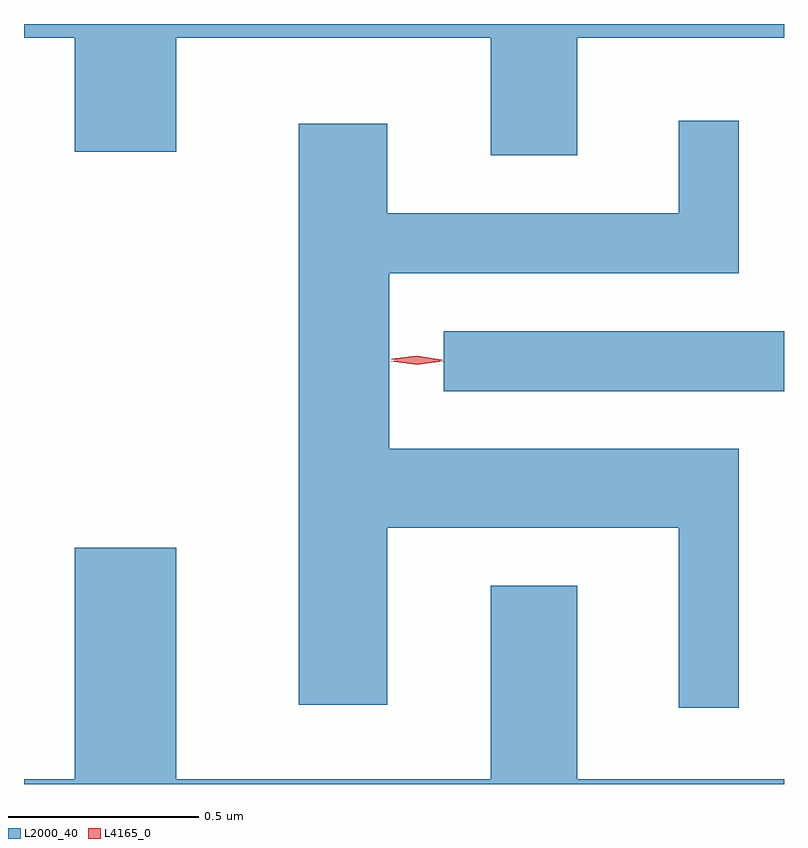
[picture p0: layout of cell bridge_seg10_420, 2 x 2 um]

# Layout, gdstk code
import gdstk
lib = gdstk.Library(unit=1e-6, precision=1e-09)
def R(c, l, rs):  # rectangles x0, y0, x1, y1
    for r in rs: c.add(gdstk.rectangle(r[:2], r[2:], *l))
def P(c, l, *ps):  # polygons
    for p in ps: c.add(gdstk.Polygon(p, *l))
L2000_40 = (2000, 40)
L4165_0 = (4165, 0)

bridge_seg10_420 = lib.new_cell('bridge_seg10_420')
R(bridge_seg10_420, L2000_40, [(1314.948,2110.766,1315.843,2110.924)])
P(bridge_seg10_420, L2000_40, [(1315.299,2111.696),(1315.843,2111.696),(1315.843,2111.732),(1313.843,2111.732),(1313.843,2111.696),(1313.976,2111.696),(1313.976,2111.396),(1314.244,2111.396),(1314.244,2111.696),(1315.071,2111.696),(1315.071,2111.386),(1315.299,2111.386)],
  [(1315.724,2110.614),(1314.804,2110.614),(1314.804,2111.076),(1315.724,2111.076),(1315.724,2111.478),(1315.566,2111.478),(1315.566,2111.234),(1314.799,2111.234),(1314.799,2111.469),(1314.566,2111.469),(1314.566,2109.941),(1314.799,2109.941),(1314.799,2110.406),(1315.566,2110.406),(1315.566,2109.933),(1315.724,2109.933)],
  [(1315.843,2109.744),(1315.299,2109.744),(1315.299,2110.254),(1315.071,2110.254),(1315.071,2109.744),(1314.244,2109.744),(1314.244,2110.354),(1313.976,2110.354),(1313.976,2109.744),(1313.843,2109.744),(1313.843,2109.732),(1315.843,2109.732)])
P(bridge_seg10_420, L4165_0, [(1314.877,2110.835),(1314.808,2110.844),(1314.807,2110.845),(1314.808,2110.845),(1314.877,2110.855),(1314.946,2110.845),(1314.946,2110.845),(1314.946,2110.844)],
  [(1314.876,2110.839),(1314.811,2110.85),(1314.81,2110.85),(1314.811,2110.851),(1314.877,2110.859),(1314.942,2110.848),(1314.943,2110.848),(1314.942,2110.847)])

lib.write_gds('bridge_seg10_420.gds')
